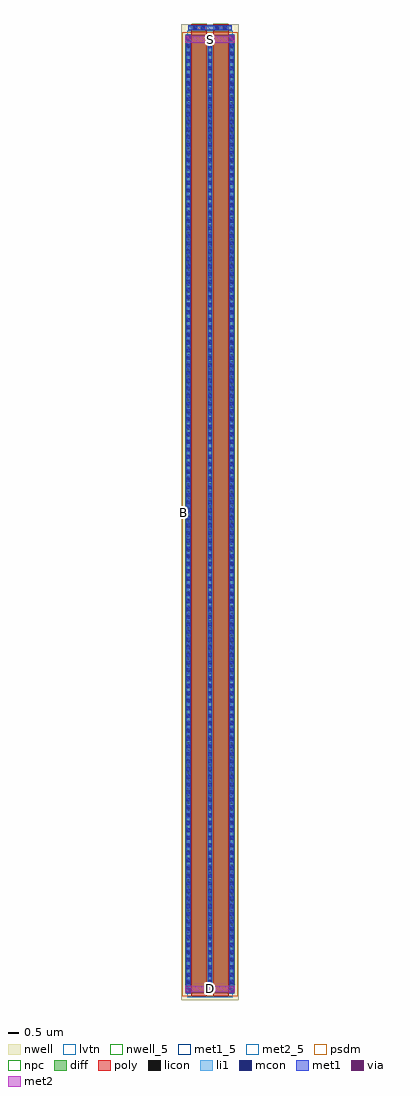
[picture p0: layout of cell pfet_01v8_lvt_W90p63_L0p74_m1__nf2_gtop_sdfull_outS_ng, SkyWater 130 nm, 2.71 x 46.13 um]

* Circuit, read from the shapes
.subckt pfet_01v8_lvt_W90p63_L0p74_m1__nf2_gtop_sdfull_outS_ng B D G S
XM1 D G S B sky130_fd_pr__pfet_01v8_lvt w=45.32 l=0.74 m=2
.ends

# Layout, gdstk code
import gdstk
lib = gdstk.Library(unit=1e-6, precision=1e-09)
def R(c, l, rs):  # rectangles x0, y0, x1, y1
    for r in rs: c.add(gdstk.rectangle(r[:2], r[2:], *l))
def A(c, l, x, y, w, h, nx, ny, dx, dy):  # array of equal rectangles
    R(c, l, [(x+i*dx, y+j*dy, x+i*dx+w, y+j*dy+h) for i in range(nx) for j in range(ny)])
nwell_5 = (64, 5)
nwell = (64, 20)
diff = (65, 20)
poly = (66, 20)
licon = (66, 44)
li1 = (67, 20)
mcon = (67, 44)
met1_5 = (68, 5)
met1 = (68, 20)
via = (68, 44)
met2_5 = (69, 5)
met2 = (69, 20)
psdm = (94, 20)
npc = (95, 20)
lvtn = (125, 44)

sky130_fd_pr__pfet_01v8_ = lib.new_cell('sky130_fd_pr__pfet_01v8_lvt_6PY2DU')
R(sky130_fd_pr__pfet_01v8_, nwell, [(-1.355,-23.15,1.355,22.98)])
R(sky130_fd_pr__pfet_01v8_, diff, [(-1.175,-22.84,1.175,22.48)])
R(sky130_fd_pr__pfet_01v8_, poly, [(-0.885,-22.97,-0.145,22.965), (0.145,-22.97,0.885,22.965)])
A(sky130_fd_pr__pfet_01v8_, licon, -1.115, -22.705, 0.17, 0.17, 3, 133, 1.03, 0.34)
R(sky130_fd_pr__pfet_01v8_, licon, [(-0.77,22.715,-0.6,22.885), (-0.43,22.715,-0.26,22.885), (0.26,22.715,0.43,22.885), (0.6,22.715,0.77,22.885)])
A(sky130_fd_pr__pfet_01v8_, li1, -1.115, -22.86, 0.17, 45.36, 3, 1, 1.03, 0)
R(sky130_fd_pr__pfet_01v8_, li1, [(-1.03,22.715,1.03,22.885)])
A(sky130_fd_pr__pfet_01v8_, mcon, -1.115, -22.765, 0.17, 0.17, 3, 126, 1.03, 0.36)
R(sky130_fd_pr__pfet_01v8_, mcon, [(-0.78,22.715,-0.61,22.885), (-0.42,22.715,-0.25,22.885), (0.25,22.715,0.42,22.885), (0.61,22.715,0.78,22.885)])
A(sky130_fd_pr__pfet_01v8_, met1, -1.145, -22.84, 0.23, 45.32, 3, 1, 1.03, 0)
R(sky130_fd_pr__pfet_01v8_, met1, [(-0.865,22.685,-0.165,22.715), (0.165,22.685,0.865,22.715), (-1.03,22.715,1.03,22.885), (-0.865,22.885,-0.165,22.915), (0.165,22.885,0.865,22.915)])
R(sky130_fd_pr__pfet_01v8_, psdm, [(-1.3,-22.965,1.3,22.605)])
R(sky130_fd_pr__pfet_01v8_, npc, [(-0.87,22.615,-0.16,22.985), (0.16,22.615,0.87,22.985)])
R(sky130_fd_pr__pfet_01v8_, lvtn, [(-1.065,-23.02,1.065,22.66)])
sky130_fd_pr__pfet_01v8_.add(gdstk.Label('D0', (-1.03,-0.18), layer=67, texttype=5))
sky130_fd_pr__pfet_01v8_.add(gdstk.Label('G', (0.515,22.8), layer=67, texttype=5))
sky130_fd_pr__pfet_01v8_.add(gdstk.Label('G', (-0.515,22.8), layer=67, texttype=5))
sky130_fd_pr__pfet_01v8_.add(gdstk.Label('S1', (0,-0.18), layer=67, texttype=5))

pfet_01v8_lvt_w90p63_l0p = lib.new_cell('pfet_01v8_lvt_W90p63_L0p74_m1__nf2_gtop_sdfull_outS_ng')
R(pfet_01v8_lvt_w90p63_l0p, nwell_5, [(0.05,23.015,0.15,23.115)])
R(pfet_01v8_lvt_w90p63_l0p, nwell, [(0.05,23.015,0.15,23.115)])
R(pfet_01v8_lvt_w90p63_l0p, met1_5, [(0.325,45.835,2.385,46.065)])
R(pfet_01v8_lvt_w90p63_l0p, met1, [(1.225,0.36,1.485,0.68), (0.195,45.26,0.455,45.58), (2.255,45.26,2.515,45.58), (0.325,45.835,2.385,46.065)])
R(pfet_01v8_lvt_w90p63_l0p, via, [(1.28,0.445,1.43,0.595), (0.25,45.345,0.4,45.495), (2.31,45.345,2.46,45.495)])
R(pfet_01v8_lvt_w90p63_l0p, met2_5, [(0.19,0.36,2.52,0.68), (0.19,45.26,2.52,45.58)])
R(pfet_01v8_lvt_w90p63_l0p, met2, [(0.19,0.36,2.52,0.68), (0.19,45.26,2.52,45.58)])
pfet_01v8_lvt_w90p63_l0p.add(gdstk.Reference(sky130_fd_pr__pfet_01v8_, (1.355,23.15)))
pfet_01v8_lvt_w90p63_l0p.add(gdstk.Label('S', (1.355,45.42), layer=69, texttype=5))
pfet_01v8_lvt_w90p63_l0p.add(gdstk.Label('D', (1.355,0.52), layer=69, texttype=5))
pfet_01v8_lvt_w90p63_l0p.add(gdstk.Label('G', (1.355,45.95), layer=68, texttype=5))
pfet_01v8_lvt_w90p63_l0p.add(gdstk.Label('B', (0.1,23.065), layer=64, texttype=5))

lib.write_gds('pfet_01v8_lvt_W90p63_L0p74_m1__nf2_gtop_sdfull_outS_ng.gds')
